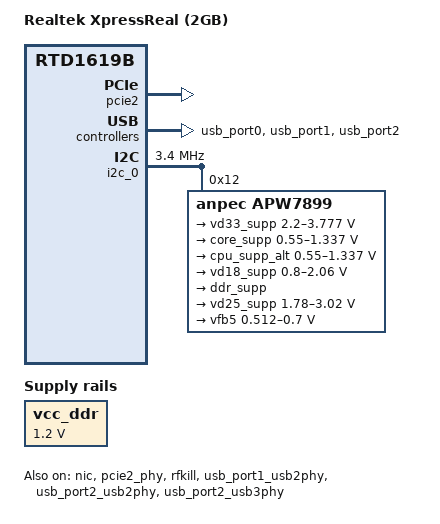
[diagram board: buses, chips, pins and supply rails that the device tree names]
// SPDX-License-Identifier: (GPL-2.0-or-later OR BSD-2-Clause)
/*
 * Copyright (c) 2020 Realtek Semiconductor Corp.
 */

#include "rtd1619b-backinblack-2gb.dts"
#include <dt-bindings/regulator/anpec,apw888x.h>

/ {
	compatible = "realtek,xpressreal", "realtek,rtd1619b";
	model = "Realtek XpressReal (2GB)";

	vcc_ddr: vcc1v2-ddr {
		compatible = "regulator-fixed";
		regulator-name = "vcc1v2-ddr";
		regulator-min-microvolt = <1200000>;
		regulator-max-microvolt = <1200000>;
	};
};

&hdmi {
	hdmi5v-gpios = <&gpio 5 GPIO_ACTIVE_HIGH>;
};


&nic {
	status = "okay";
};

&pcie2 {
	status = "okay";
};

&pcie2_phy {
	status = "okay";
};

&rfkill {
	rfkill-gpios = <&gpio 57 GPIO_ACTIVE_HIGH>;
	status = "okay";
};

&sdio {
	wifi-rst-gpios = <&gpio 61 GPIO_ACTIVE_HIGH>;
};

&usb_port0 {
        realtek,power-gpio = <&gpio 48 GPIO_ACTIVE_HIGH>;
        status = "okay";
};

&usb_port1_usb2phy {
        status = "okay";
};

&usb_port1 {
        realtek,power-gpio = <&gpio 48 GPIO_ACTIVE_HIGH>;
        status = "okay";
};

&usb_port2_usb2phy {
        status = "okay";
};

&usb_port2_usb3phy {
        status = "okay";
};

&usb_port2 {
        realtek,power-gpio = <&gpio 49 GPIO_ACTIVE_HIGH>;
        status = "okay";
};

&usb_manager {
	type_c: type-c@7220 {
		compatible= "realtek,rtd1619b-type-c";
		reg = <0x7220 0x20>;
		#address-cells = <1>;
		#size-cells = <1>;
		ranges;

		interrupts = <0 60 IRQ_TYPE_LEVEL_HIGH>;

		realtek,usb-port = <&usb_port2>;

		pinctrl-names = "default";
		pinctrl-0 = <&usb_cc1_pins>, <&usb_cc2_pins>;

		nvmem-cells = <&otp_usb_cal>;
		nvmem-cell-names = "usb-cal";

		resets = <&ic RTD1619B_ISO_RSTN_TYPE_C>; /* rstn_type_c */
		reset-names = "type-c"; /* rstn_type_c */

		/* For 1619B, u3drd */
		realtek,plug-side-switch-gpio = <&gpio 53 GPIO_ACTIVE_HIGH>;

		status = "okay";

		connector {
			compatible = "usb-c-connector";
			label = "USB-C";
			data-role = "dual";
			power-role = "dual";
		};
	};
};

/delete-node/ &cpu_supp;

&i2c_0 {
	clock-frequency = <3400000>;
	pinctrl-0 = <&i2c_pins_0_HS>;
	status = "okay";

	apw7899: apw7899@12 {
		compatible = "anpec,apw7899";
		reg = <0x12>;

		regulators {
			compatible = "anpec,apw8886-regulator";

			vd33_supp: dc1 {
				regulator-name = "vd33";
				regulator-min-microvolt = <2200000>;
				regulator-max-microvolt = <3777500>;

				regulator-boot-on;
				regulator-always-on;
				regulator-initial-mode = <APW888X_DC_MODE_AUTO>;
				regulator-state-mem {
					regulator-on-in-suspend;
					regulator-suspend-microvolt = <3300000>;
				};
			};

			core_supp: dc2 {
				regulator-name = "core";
				regulator-min-microvolt = <550000>;
				regulator-max-microvolt = <1337500>;

				regulator-boot-on;
				regulator-always-on;
				regulator-initial-mode = <APW888X_DC_MODE_AUTO>;
				regulator-state-mem {
					regulator-on-in-suspend;
					regulator-suspend-microvolt = <800000>;
				};
			};

			cpu_supp_alt: dc3 {
				regulator-name = "cpudvs";
				regulator-min-microvolt = <550000>;
				regulator-max-microvolt = <1337500>;

				regulator-boot-on;
				regulator-always-on;
				regulator-initial-mode = <APW888X_DC_MODE_AUTO>;
				regulator-ramp-delay = <625>;
				apw888x-disabled-in-shutdown;

				regulator-state-mem {
					regulator-off-in-suspend;
					regulator-changeable-in-suspend;
				};
			};

			vd18_supp: dc4 {
				regulator-name = "vd18";
				regulator-min-microvolt = <800000>;
				regulator-max-microvolt = <2060000>;

				regulator-boot-on;
				regulator-always-on;
				regulator-initial-mode = <APW888X_DC_MODE_AUTO>;
				regulator-state-mem {
					regulator-on-in-suspend;
				};
			};

			ddr_supp: dc5 {
				regulator-name = "ddr";
				regulator-boot-on;
				regulator-always-on;
				regulator-initial-mode = <APW888X_DC_MODE_AUTO>;
				vin-supply = <&vcc_ddr>;
				apw888x-disabled-in-shutdown;

				regulator-state-mem {
					regulator-on-in-suspend;
				};
			};

			vd25_supp: ldo1 {
				regulator-name = "vd25";
				regulator-min-microvolt = <1780000>;
				regulator-max-microvolt = <3020000>;

				regulator-boot-on;
				regulator-always-on;
				regulator-initial-mode = <APW888X_LDO_MODE_NORMAL>;
				regulator-state-mem {
					regulator-on-in-suspend;
				};
			};

			vfb5 {
				regulator-name = "vfb5";
				regulator-min-microvolt = <512500>;
				regulator-max-microvolt = <700000>;

				regulator-boot-on;
				regulator-always-on;
				regulator-state-mem {
					regulator-on-in-suspend;
				};
			};
		};
	};
};

&cpu0 {
	cpu-supply = <&cpu_supp_alt>;
};

&cpu1 {
	cpu-supply = <&cpu_supp_alt>;
};

&cpu2 {
	cpu-supply = <&cpu_supp_alt>;
};

&cpu3 {
	cpu-supply = <&cpu_supp_alt>;
};

&pm_hifi {
        hifi-supply = <&cpu_supp_alt>;
};
